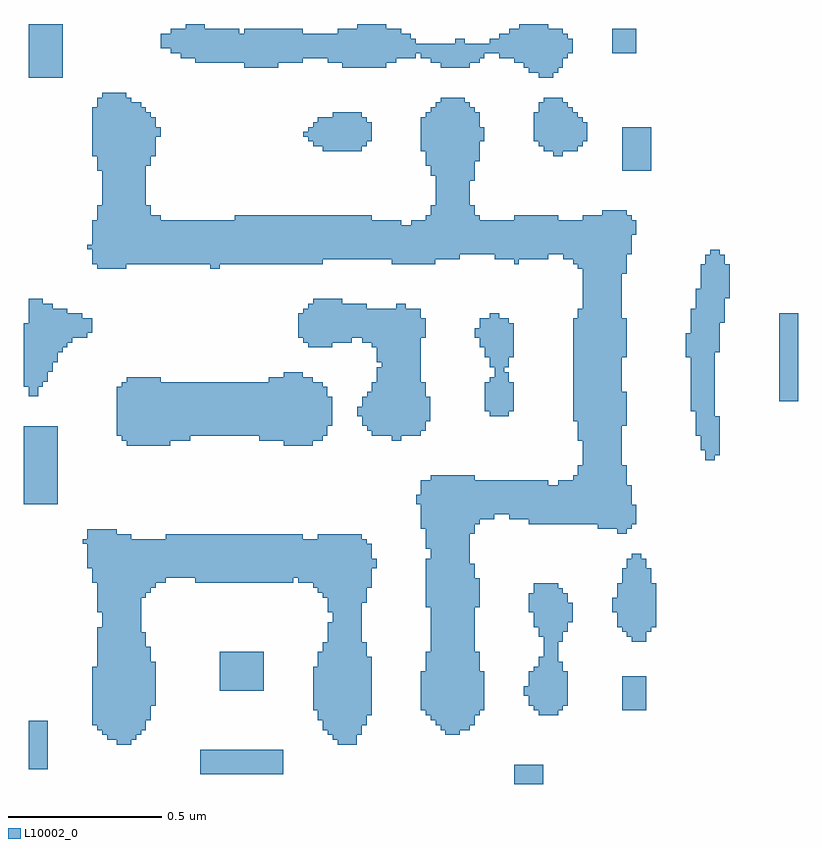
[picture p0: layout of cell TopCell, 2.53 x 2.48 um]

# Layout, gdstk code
import gdstk
lib = gdstk.Library(unit=1e-6, precision=1e-09)
def R(c, l, rs):  # rectangles x0, y0, x1, y1
    for r in rs: c.add(gdstk.rectangle(r[:2], r[2:], *l))
L10002_0 = (10002, 0)

topcell = lib.new_cell('TopCell')
R(topcell, L10002_0, [(2.624,1.04,2.719,1.103), (1.6,1.072,1.871,1.151), (1.04,1.088,1.103,1.247), (1.328,1.168,1.375,1.855), (2.048,1.168,2.111,1.855), (1.296,1.184,1.327,1.871), (1.327,1.184,1.328,1.855), (1.375,1.184,1.391,1.839), (2.032,1.184,2.048,1.855), (1.28,1.2,1.296,1.871), (1.391,1.2,1.407,1.839), (2.016,1.2,2.032,1.567), (2.111,1.2,2.127,1.855), (2.4,1.2,2.447,2.047), (1.264,1.216,1.28,1.551), (1.407,1.216,1.423,1.535), (2,1.216,2.016,1.503), (2.384,1.216,2.4,2.047), (2.447,1.216,2.479,2.047), (1.248,1.232,1.264,1.423), (2.127,1.232,2.143,1.503), (2.368,1.232,2.384,2.047), (2.479,1.232,2.495,1.759), (1.423,1.248,1.439,1.487), (1.984,1.248,2,1.471), (2.352,1.248,2.368,2.047), (2.143,1.264,2.159,1.455), (2.336,1.264,2.352,1.471), (2.495,1.264,2.511,1.471), (2.704,1.264,2.767,1.455), (1.968,1.28,1.984,1.423), (2.32,1.28,2.336,1.407), (2.511,1.28,2.527,1.407), (2.688,1.28,2.704,1.423), (2.767,1.28,2.783,1.439), (2.976,1.28,3.055,1.391), (1.439,1.296,1.455,1.439), (2.672,1.296,2.688,1.407), (2.783,1.296,2.799,1.407), (2.656,1.328,2.672,1.359), (1.664,1.344,1.807,1.471), (2.72,1.455,2.767,1.695), (2.767,1.504,2.783,1.679), (3.008,1.504,3.039,1.791), (3.039,1.504,3.055,1.775), (2.704,1.52,2.72,1.695), (2.992,1.52,3.008,1.775), (2.783,1.536,2.799,1.663), (2.976,1.536,2.992,1.743), (3.055,1.536,3.071,1.743), (2.688,1.552,2.704,1.695), (2.96,1.552,2.976,1.695), (3.071,1.552,3.087,1.695), (2.799,1.568,2.815,1.631), (1.264,1.6,1.28,1.871), (2.016,1.6,2.032,1.855), (2.672,1.6,2.688,1.663), (2.944,1.6,2.96,1.647), (2.336,1.616,2.352,1.775), (2.495,1.616,2.511,1.711), (2.127,1.632,2.143,1.839), (1.407,1.648,1.423,1.839), (2,1.648,2.016,1.855), (1.423,1.664,1.439,1.839), (1.984,1.664,2,1.855), (1.439,1.68,1.455,1.839), (1.968,1.68,1.984,1.839), (2.143,1.68,2.159,1.823), (1.248,1.696,1.264,1.871), (1.455,1.696,1.487,1.839), (1.584,1.696,1.903,1.855), (1.92,1.696,1.935,1.855), (1.935,1.696,1.968,1.839), (1.487,1.712,1.584,1.839), (1.903,1.712,1.92,1.855), (1.232,1.744,1.248,1.871), (2.159,1.744,2.175,1.775), (2.336,1.808,2.352,2.031), (1.216,1.824,1.232,1.839), (1.488,1.839,1.584,1.855), (2.479,1.856,2.495,2.047), (2.96,1.856,2.975,2.911), (2.975,1.856,2.991,2.079), (2.32,1.872,2.336,2.031), (2.896,1.872,2.96,2.895), (2.991,1.872,3.007,2.015), (2.495,1.888,2.511,2.031), (2.672,1.888,2.735,2.031), (2.735,1.888,2.896,2.015), (3.007,1.888,3.023,1.951), (2.511,1.904,2.559,2.031), (2.608,1.904,2.672,2.031), (2.559,1.92,2.608,2.031), (1.024,1.952,1.135,2.207), (2.304,1.952,2.32,1.983), (2.768,2.015,2.896,2.031), (2.816,2.031,2.896,2.047), (2.832,2.047,2.896,2.079), (2.848,2.079,2.896,2.895), (3.248,2.096,3.279,2.767), (3.279,2.112,3.295,2.239), (3.232,2.128,3.248,2.735), (1.36,2.144,1.471,2.367), (1.471,2.144,1.503,2.351), (1.872,2.144,1.935,2.383), (1.935,2.144,1.967,2.367), (1.344,2.16,1.36,2.351), (1.503,2.16,1.567,2.351), (1.792,2.16,1.872,2.351), (1.967,2.16,1.999,2.351), (2.224,2.16,2.255,2.591), (2.832,2.16,2.848,2.591), (1.328,2.176,1.344,2.335), (1.567,2.176,1.792,2.351), (1.999,2.176,2.015,2.335), (2.16,2.176,2.224,2.351), (2.255,2.176,2.271,2.607), (2.271,2.176,2.319,2.591), (3.216,2.176,3.232,2.655), (2.144,2.192,2.16,2.319), (2.319,2.192,2.335,2.351), (2.015,2.208,2.031,2.303), (2.128,2.208,2.144,2.303), (2.975,2.208,2.991,2.319), (2.335,2.224,2.351,2.303), (2.816,2.224,2.832,2.559), (2.112,2.24,2.128,2.271), (2.544,2.24,2.607,2.367), (2.528,2.256,2.544,2.351), (2.607,2.256,2.623,2.351), (3.2,2.256,3.216,2.591), (3.488,2.288,3.551,2.575), (1.04,2.304,1.071,2.623), (1.024,2.336,1.04,2.543), (1.071,2.336,1.087,2.623), (1.824,2.351,1.872,2.367), (2.176,2.351,2.224,2.399), (1.087,2.352,1.103,2.607), (2.56,2.367,2.575,2.575), (2.575,2.367,2.591,2.559), (2.591,2.367,2.607,2.383), (1.103,2.384,1.119,2.607), (2.192,2.399,2.224,2.591), (2.544,2.4,2.56,2.575), (2.591,2.4,2.607,2.559), (1.119,2.416,1.135,2.591), (2.176,2.416,2.192,2.591), (2.528,2.432,2.544,2.559), (2.607,2.432,2.623,2.543), (2.975,2.432,2.991,2.559), (3.184,2.432,3.2,2.511), (1.135,2.448,1.151,2.591), (3.279,2.448,3.295,2.783), (1.151,2.464,1.167,2.591), (1.952,2.464,2.031,2.607), (2.16,2.464,2.176,2.591), (2.512,2.464,2.528,2.559), (1.167,2.48,1.183,2.575), (1.936,2.48,1.952,2.591), (2.031,2.48,2.063,2.623), (2.063,2.48,2.095,2.607), (2.128,2.48,2.143,2.607), (2.143,2.48,2.16,2.591), (1.183,2.496,1.215,2.575), (1.215,2.496,1.231,2.559), (1.92,2.496,1.936,2.575), (2.095,2.496,2.128,2.607), (2.319,2.496,2.335,2.559), (2.496,2.496,2.512,2.527), (1.231,2.512,1.247,2.559), (3.295,2.544,3.311,2.767), (2.24,2.591,2.255,2.607), (1.968,2.607,2.031,2.623), (3.311,2.624,3.327,2.735), (2.975,2.704,2.991,2.911), (1.264,2.72,1.359,2.927), (1.632,2.72,1.663,2.879), (2.832,2.72,2.848,2.879), (1.248,2.736,1.264,2.879), (1.359,2.736,1.375,3.279), (1.375,2.736,1.407,3.263), (1.407,2.736,1.423,3.247), (1.423,2.736,1.439,2.927), (1.439,2.736,1.471,2.895), (1.471,2.736,1.632,2.879), (1.663,2.736,1.999,2.879), (2.224,2.736,2.255,2.879), (2.255,2.736,2.367,2.863), (2.624,2.736,2.639,2.895), (2.816,2.736,2.832,2.879), (1.999,2.752,2.159,2.895), (2.159,2.752,2.224,2.879), (2.367,2.752,2.447,2.927), (2.56,2.752,2.624,2.879), (2.639,2.752,2.735,2.895), (2.784,2.752,2.816,2.879), (3.264,2.767,3.279,2.783), (2.447,2.768,2.463,3.279), (2.463,2.768,2.479,3.263), (2.479,2.768,2.495,2.927), (2.495,2.768,2.511,2.895), (2.511,2.768,2.56,2.879), (2.735,2.768,2.767,2.895), (2.767,2.768,2.784,2.879), (2.991,2.768,3.007,2.895), (1.232,2.784,1.248,2.799), (3.007,2.832,3.023,2.879), (2.288,2.863,2.367,2.879), (1.712,2.879,1.999,2.895), (2.336,2.879,2.367,2.895), (2.352,2.895,2.367,2.927), (2.912,2.895,2.96,2.911), (1.28,2.927,1.359,3.295), (2.368,2.927,2.447,3.263), (2.479,3.008,2.495,3.247), (2.352,3.024,2.368,3.247), (1.264,3.04,1.28,3.279), (2.976,3.04,3.071,3.183), (1.423,3.056,1.439,3.231), (2.336,3.056,2.352,3.231), (2.495,3.072,2.511,3.231), (1.248,3.088,1.264,3.247), (1.439,3.088,1.455,3.215), (2.752,3.088,2.783,3.279), (2,3.104,2.127,3.215), (2.32,3.104,2.336,3.215), (2.72,3.104,2.752,3.279), (2.783,3.104,2.799,3.263), (2.799,3.104,2.815,3.247), (2.815,3.104,2.831,3.231), (1.968,3.12,2,3.199), (2.127,3.12,2.143,3.215), (2.704,3.12,2.72,3.263), (2.831,3.12,2.847,3.215), (1.952,3.136,1.968,3.183), (2.143,3.136,2.159,3.199), (2.511,3.136,2.527,3.183), (2.688,3.136,2.704,3.231), (2.847,3.136,2.863,3.199), (1.455,3.152,1.471,3.183), (1.936,3.152,1.952,3.167), (1.984,3.199,2,3.215), (2.032,3.215,2.127,3.231), (2.384,3.263,2.447,3.279), (1.04,3.344,1.151,3.519), (2.704,3.344,2.735,3.519), (2.735,3.344,2.751,3.503), (2.672,3.36,2.704,3.519), (2.751,3.36,2.767,3.503), (1.744,3.376,1.855,3.503), (2.064,3.376,2.207,3.503), (2.384,3.376,2.479,3.455), (2.656,3.376,2.672,3.519), (2.767,3.376,2.783,3.503), (1.584,3.392,1.615,3.519), (1.615,3.392,1.727,3.503), (1.727,3.392,1.744,3.487), (1.855,3.392,1.935,3.503), (2.016,3.392,2.064,3.487), (2.207,3.392,2.239,3.503), (2.352,3.392,2.384,3.455), (2.479,3.392,2.511,3.455), (2.624,3.392,2.656,3.503), (1.536,3.408,1.584,3.503), (1.935,3.408,2.016,3.487), (2.239,3.408,2.255,3.503), (2.255,3.408,2.287,3.487), (2.287,3.408,2.303,3.471), (2.32,3.408,2.352,3.455), (2.511,3.408,2.527,3.455), (2.576,3.408,2.624,3.487), (2.783,3.408,2.799,3.487), (1.504,3.424,1.536,3.503), (2.303,3.424,2.32,3.455), (2.527,3.424,2.576,3.455), (2.799,3.424,2.815,3.471), (2.944,3.424,3.023,3.503), (1.472,3.44,1.504,3.487), (2.432,3.455,2.463,3.471), (2.544,3.455,2.576,3.471), (2.048,3.487,2.064,3.503), (2.608,3.487,2.624,3.503), (1.552,3.503,1.584,3.519), (2.112,3.503,2.207,3.519), (2.64,3.503,2.656,3.519)])

lib.write_gds('TopCell.gds')
